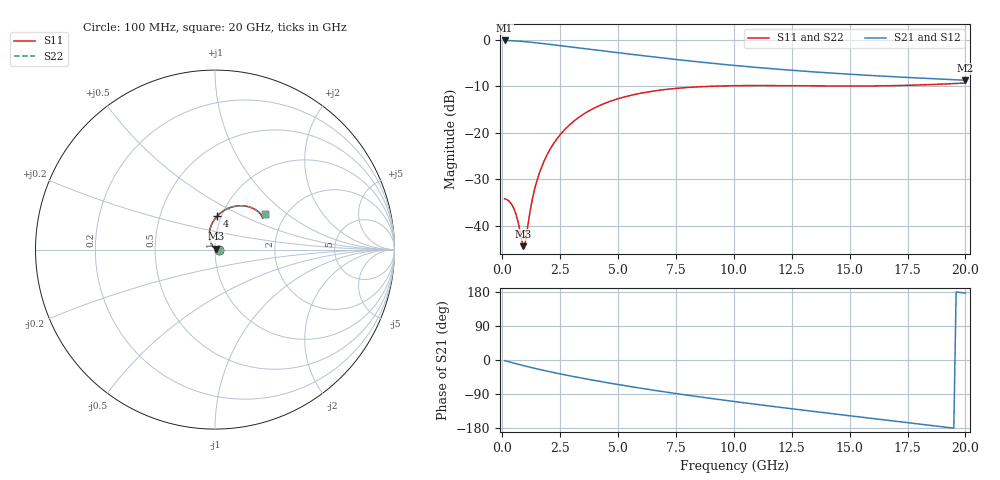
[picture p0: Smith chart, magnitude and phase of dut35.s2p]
! Touchstone file exported from HFSS 2024.1.0
!  File:  C:/UserFiles/LocalFiles/RDL_TSV_Batchsim/temp_RDL_TSV_35_1779403184.aedt
!  Generated:  06:53:26 AM May 22, 2026
!  Design:  RDL_TSV
!  Project:  temp_RDL_TSV_35_1779403184
!  Setup:  Setup1
!  Solution:  Sweep
! Variables:
!  dtsv = 11.06um
!  hbump = 3um
!  htsv = 75.31um
!  ldown = 161.91um
!  lrdl = 487.95um
!  p = 40
!  p1 = 49.75um
!  rhole = 10um
!  subl = 2437.53um
!  t = 450um
!  tdown = 4.41um
!  trdl = 2.16um
!  viad = 10um
!  wdown = 28.97um
!  wrdl = 17.72um
!  xbump = 18um
# GHz S MA R 50.000000
! Terminal data exported
! Port[1] = TM1_1_T1
! Port[2] = TM1_4_T1
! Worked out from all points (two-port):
!   200 points, 100 MHz to 20 GHz, reference 50 ohm
!   highest |S21| = -0.18 dB at 100 MHz (marker M1); lowest = -8.7 dB at 20 GHz (marker M2)
!   |S21| within 3 dB of the highest: start of sweep to 5.621 GHz
!   lowest |S11| = -44.3 dB at 900 MHz (marker M3), VSWR 1.01, Z = 50.4 + j0.454 ohm
!   |S11| at or under -10 dB: start of sweep to 9.065 GHz
!   |S22| runs from -44.3 to -9.3 dB; largest |S21 - S12| = 1.3e-14
!   S11 on the Smith chart (normalised r, x): 100 MHz: 1.04, +0.00; 4 GHz: 0.95, +0.37; 20 GHz: 1.57, +0.71
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0.1  0.01965 0.4  0.9798 -1.7  0.9798 -1.7  0.01965 0.4
! Gamma 0 0 0 0
! Port Impedance 50 0 50 0
0.3  0.01843 0.7  0.9765 -5.0  0.9765 -5.0  0.01843 0.7
0.5  0.01542 1.6  0.9709 -8.3  0.9709 -8.3  0.01542 1.6
0.7  0.0106 8.7  0.9635 -11.5  0.9635 -11.5  0.01059 8.7
0.9  0.00608 47.9  0.9548 -14.6  0.9548 -14.6  0.006073 48.0
1  0.006763 85.3  0.9499 -16.1  0.9499 -16.1  0.006771 85.5
1.2  0.01447 117.5  0.9395 -19.1  0.9395 -19.1  0.0145 117.6
1.4  0.02507 123.1  0.9283 -22.0  0.9283 -22.0  0.02511 123.1
1.6  0.03688 122.7  0.9166 -24.9  0.9166 -24.9  0.03694 122.7
1.8  0.04941 120.4  0.9045 -27.6  0.9045 -27.6  0.04948 120.5
2.1  0.06897 115.8  0.8862 -31.6  0.8862 -31.6  0.06906 115.9
2.5  0.09548 109.1  0.8618 -36.7  0.8618 -36.7  0.0956 109.2
3  0.1279 101.0  0.832 -42.7  0.832 -42.7  0.128 101.0
3.5  0.1582 93.4  0.8033 -48.5  0.8033 -48.5  0.1584 93.5
4  0.1859 86.6  0.7757 -54.1  0.7757 -54.1  0.1862 86.6
5.2  0.24 72.5  0.7139 -66.8  0.7139 -66.8  0.2404 72.6
6.8  0.2867 58.4  0.641 -82.2  0.641 -82.2  0.2872 58.4
8.4  0.3109 48.2  0.5795 -96.3  0.5795 -96.3  0.3115 48.2
10.1  0.3206 40.7  0.5263 -110.2  0.5263 -110.2  0.3212 40.7
13.4  0.3189 33.9  0.4517 -135.4  0.4517 -135.4  0.3195 33.9
16.7  0.3203 33.9  0.4024 -159.5  0.4024 -159.5  0.3208 33.9
20  0.3421 35.8  0.3668 176.5  0.3668 176.5  0.3426 35.8
